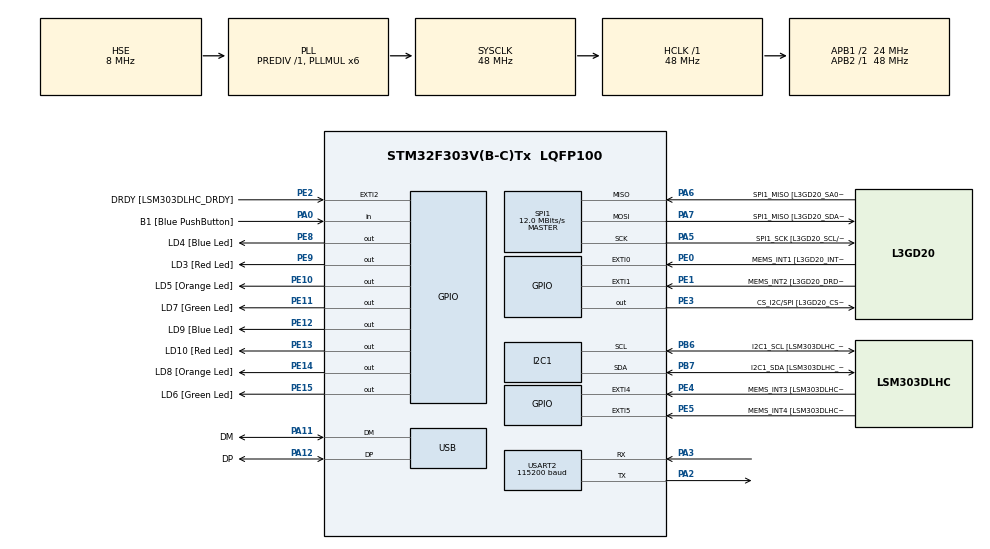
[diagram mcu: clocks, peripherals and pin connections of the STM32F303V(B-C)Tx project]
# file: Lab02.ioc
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I2C1.Timing=0x2000090E
I2C1.Timing-I2C=0x2000090E
Mcu.Family=STM32F3
Mcu.Name=STM32F303V(B-C)Tx
Mcu.Package=LQFP100
NVIC.PriorityGroup=NVIC_PRIORITYGROUP_0
PA0.GPIO_Label=B1 [Blue PushButton]
PA0.Signal=GPIO_Input
PA11.GPIO_Label=DM
PA11.Mode=Device
PA11.Signal=USB_DM
PA12.GPIO_Label=DP
PA12.Mode=Device
PA12.Signal=USB_DP
PA13.GPIO_Label=SWDIO
PA13.Mode=Serial_Wire
PA13.Signal=SYS_JTMS-SWDIO
PA14.GPIO_Label=SWCLK
PA14.Mode=Serial_Wire
PA14.Signal=SYS_JTCK-SWCLK
PA2.Mode=Asynchronous
PA2.Signal=USART2_TX
PA3.Mode=Asynchronous
PA3.Signal=USART2_RX
PA5.GPIO_Label=SPI1_SCK [L3GD20_SCL/SPC]
PA5.Mode=Full_Duplex_Master
PA5.Signal=SPI1_SCK
PA6.GPIO_Label=SPI1_MISO [L3GD20_SA0/SDO]
PA6.Mode=Full_Duplex_Master
PA6.Signal=SPI1_MISO
PA7.GPIO_Label=SPI1_MISO [L3GD20_SDA/SDI/SDO]
PA7.Mode=Full_Duplex_Master
PA7.Signal=SPI1_MOSI
PB3.GPIO_Label=SWO
PB3.Signal=SYS_JTDO-TRACESWO
PB6.GPIO_Label=I2C1_SCL [LSM303DLHC_SCL]
PB6.GPIO_Pu=GPIO_PULLUP
PB6.Mode=I2C
PB6.Signal=I2C1_SCL
PB7.GPIO_Label=I2C1_SDA [LSM303DLHC_SDA]
PB7.GPIO_Pu=GPIO_PULLUP
PB7.Mode=I2C
PB7.Signal=I2C1_SDA
PC14-OSC32_IN.GPIO_Label=OSC32_IN
PC14-OSC32_IN.Signal=RCC_OSC32_IN
PC15-OSC32_OUT.GPIO_Label=OSC32_OUT
PC15-OSC32_OUT.Signal=RCC_OSC32_OUT
PE0.GPIO_Label=MEMS_INT1 [L3GD20_INT1]
PE0.GPIO_ModeDefaultEXTI=GPIO_MODE_EVT_RISING
PE0.Signal=GPXTI0
PE1.GPIO_Label=MEMS_INT2 [L3GD20_DRDY/INT2]
PE1.GPIO_ModeDefaultEXTI=GPIO_MODE_EVT_RISING
PE1.Signal=GPXTI1
PE10.GPIO_Label=LD5 [Orange Led]
PE10.Signal=GPIO_Output
PE11.GPIO_Label=LD7 [Green Led]
PE11.Signal=GPIO_Output
PE12.GPIO_Label=LD9 [Blue Led]
PE12.Signal=GPIO_Output
PE13.GPIO_Label=LD10 [Red Led]
PE13.Signal=GPIO_Output
PE14.GPIO_Label=LD8 [Orange Led]
PE14.Signal=GPIO_Output
PE15.GPIO_Label=LD6 [Green Led]
PE15.Signal=GPIO_Output
PE2.GPIO_Label=DRDY [LSM303DLHC_DRDY]
PE2.GPIO_ModeDefaultEXTI=GPIO_MODE_EVT_RISING
PE2.Signal=GPXTI2
PE3.GPIO_Label=CS_I2C/SPI [L3GD20_CS_I2C/SPI]
PE3.Signal=GPIO_Output
PE4.GPIO_Label=MEMS_INT3 [LSM303DLHC_INT1]
PE4.GPIO_ModeDefaultEXTI=GPIO_MODE_EVT_RISING
PE4.Signal=GPXTI4
PE5.GPIO_Label=MEMS_INT4 [LSM303DLHC_INT2]
PE5.GPIO_ModeDefaultEXTI=GPIO_MODE_EVT_RISING
PE5.Signal=GPXTI5
PE8.GPIO_Label=LD4 [Blue Led]
PE8.Signal=GPIO_Output
PE9.GPIO_Label=LD3 [Red Led]
PE9.Signal=GPIO_Output
PF0-OSC_IN.GPIO_Label=OSC_IN
PF0-OSC_IN.Mode=HSE-External-Clock-Source
PF0-OSC_IN.Signal=RCC_OSC_IN
PF1-OSC_OUT.GPIO_Label=OSC_OUT
PF1-OSC_OUT.Signal=RCC_OSC_OUT
ProjectManager.HeapSize=0x200
ProjectManager.StackSize=0x400
ProjectManager.TargetToolchain=CMake
RCC.AHBFreq_Value=48000000
RCC.APB1CLKDivider=RCC_HCLK_DIV2
RCC.APB1Freq_Value=24000000
RCC.APB1TimFreq_Value=48000000
RCC.APB2Freq_Value=48000000
RCC.APB2TimFreq_Value=48000000
RCC.CortexFreq_Value=48000000
RCC.HCLKFreq_Value=48000000
RCC.HSE_VALUE=8000000
RCC.HSI_VALUE=8000000
RCC.LSE_VALUE=32768
RCC.PLLMUL=RCC_PLL_MUL6
RCC.SYSCLKFreq_VALUE=48000000
RCC.SYSCLKSourceVirtual=RCC_SYSCLKSOURCE_PLLCLK
RCC.USBFreq_Value=48000000
SPI1.BaudRatePrescaler=SPI_BAUDRATEPRESCALER_4
SPI1.BaudRatePrescaler-Full_Duplex_Master=SPI_BAUDRATEPRESCALER_2
SPI1.CalculateBaudRate=12.0 MBits/s
SPI1.CalculateBaudRate-Full_Duplex_Master=24.0 MBits/s
SPI1.Direction=SPI_DIRECTION_2LINES
SPI1.Mode=SPI_MODE_MASTER
SPI1.Mode-Full_Duplex_Master=SPI_MODE_MASTER
SPI1.VirtualType=VM_MASTER
USART2.BaudRate=115200
USART2.VirtualMode-Asynchronous=VM_ASYNC
board=STM32F3DISCOVERY

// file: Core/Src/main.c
/* USER CODE BEGIN Header */
/**
  ******************************************************************************
  * @file           : main.c
  * @brief          : Main program body
  ******************************************************************************
  * @attention
  *
  * Copyright (c) 2026 STMicroelectronics.
  * All rights reserved.
  *
  * This software is licensed under terms that can be found in the LICENSE file
  * in the root directory of this software component.
  * If no LICENSE file comes with this software, it is provided AS-IS.
  *
  ******************************************************************************
  */
/* USER CODE END Header */
#include "main.h"
#include "stdarg.h"
#include "stdio.h"
#include "string.h"
#include <stdlib.h>

I2C_HandleTypeDef hi2c1;

SPI_HandleTypeDef hspi1;

UART_HandleTypeDef huart2;

PCD_HandleTypeDef hpcd_USB_FS;

void SystemClock_Config(void);
static void MX_GPIO_Init(void);
static void MX_I2C1_Init(void);
static void MX_SPI1_Init(void);
static void MX_USART2_UART_Init(void);
static void MX_USB_PCD_Init(void);

/* USER CODE BEGIN 0 */
void myPrintf(const char *fmt, ...) {
    char buffer[128];
    va_list args;
    va_start(args, fmt);
    int l = vsnprintf(buffer, sizeof(buffer), fmt, args);
    va_end(args);
    if (l > 0) {
        HAL_UART_Transmit(&huart2, (uint8_t*)buffer, l, HAL_MAX_DELAY);
    }
}

void check (int a, int b){
  int LHS = (a+b)*(a+b);
  int RHS = a*a + 2*a*b + b*b;
  myPrintf("Value of LHS = %d, RHS = %d\r\n", LHS, RHS);
  myPrintf("Check result: %s\r\n", (LHS == RHS) ? "True" : "False");
}

void encrypt (char str[], int key) {
    int len = 17;
    int shift = key % 256;

    for (int i = 0; i < len; i++) {
        str[i] = (str[i] + shift) % 128; //128 to ensure key is in range of ascii
    }
    myPrintf("Encrypted string: %s\r\n", str);
}

void decrypt (char str[], int key) {
    int len = 17;
    int shift = key % 256;

    for (int i = 0; i < len; i++) {
        str[i] = (str[i] - (shift % 128) + 128) % 128; //128 to ensure key is in range of ascii
    }
    myPrintf("Decrypted string: %s\r\n", str);
}

void multiply(int a[2][2], int b[2][2], int res[2][2]) {
    for (int i = 0; i < 2; i++) {
        for (int j = 0; j < 2; j++) {
            res[i][j] = 0;
            for (int k = 0; k < 2; k++) {
                res[i][j] += a[i][k] * b[k][j];
            }
        }
    }
}

#include <stdio.h>

/* USER CODE END 0 */

int main(void)
{

  /* MCU Configuration--------------------------------------------------------*/

  /* Reset of all peripherals, Initializes the Flash interface and the Systick. */
  HAL_Init();

  /* Configure the system clock */
  SystemClock_Config();

  /* Initialize all configured peripherals */
  MX_GPIO_Init();
  MX_I2C1_Init();
  MX_SPI1_Init();
  MX_USART2_UART_Init();
  MX_USB_PCD_Init();

  /* Infinite loop */
  /* USER CODE BEGIN WHILE */
  while (1)
  {
    int number, originalNumber, result;

    myPrintf("Armstrong numbers between 100 and 999:\r\n");

    for (number = 100; number <= 999; number++) {
        originalNumber = number;
        result = 0;
        int temp = originalNumber;
        int d1 = temp / 100;
        int d2 = (temp / 10) % 10;
        int d3 = temp % 10;
        result = (d1 * d1 * d1) + (d2 * d2 * d2) + (d3 * d3 * d3);
        if (result == originalNumber) {
            myPrintf("%d\r\n", originalNumber);
        }
    }
  }
}

void SystemClock_Config(void)
{
  RCC_OscInitTypeDef RCC_OscInitStruct = {0};
  RCC_ClkInitTypeDef RCC_ClkInitStruct = {0};
  RCC_PeriphCLKInitTypeDef PeriphClkInit = {0};

  /** Initializes the RCC Oscillators according to the specified parameters
  * in the RCC_OscInitTypeDef structure.
  */
  RCC_OscInitStruct.OscillatorType = RCC_OSCILLATORTYPE_HSI|RCC_OSCILLATORTYPE_HSE;
  RCC_OscInitStruct.HSEState = RCC_HSE_BYPASS;
  RCC_OscInitStruct.HSEPredivValue = RCC_HSE_PREDIV_DIV1;
  RCC_OscInitStruct.HSIState = RCC_HSI_ON;
  RCC_OscInitStruct.HSICalibrationValue = RCC_HSICALIBRATION_DEFAULT;
  RCC_OscInitStruct.PLL.PLLState = RCC_PLL_ON;
  RCC_OscInitStruct.PLL.PLLSource = RCC_PLLSOURCE_HSE;
  RCC_OscInitStruct.PLL.PLLMUL = RCC_PLL_MUL6;
  if (HAL_RCC_OscConfig(&RCC_OscInitStruct) != HAL_OK)
  {
    Error_Handler();
  }

  /** Initializes the CPU, AHB and APB buses clocks
  */
  RCC_ClkInitStruct.ClockType = RCC_CLOCKTYPE_HCLK|RCC_CLOCKTYPE_SYSCLK
                              |RCC_CLOCKTYPE_PCLK1|RCC_CLOCKTYPE_PCLK2;
  RCC_ClkInitStruct.SYSCLKSource = RCC_SYSCLKSOURCE_PLLCLK;
  RCC_ClkInitStruct.AHBCLKDivider = RCC_SYSCLK_DIV1;
  RCC_ClkInitStruct.APB1CLKDivider = RCC_HCLK_DIV2;
  RCC_ClkInitStruct.APB2CLKDivider = RCC_HCLK_DIV1;

  if (HAL_RCC_ClockConfig(&RCC_ClkInitStruct, FLASH_LATENCY_1) != HAL_OK)
  {
    Error_Handler();
  }
  PeriphClkInit.PeriphClockSelection = RCC_PERIPHCLK_USB|RCC_PERIPHCLK_USART2
                              |RCC_PERIPHCLK_I2C1;
  PeriphClkInit.Usart2ClockSelection = RCC_USART2CLKSOURCE_PCLK1;
  PeriphClkInit.I2c1ClockSelection = RCC_I2C1CLKSOURCE_HSI;
  PeriphClkInit.USBClockSelection = RCC_USBCLKSOURCE_PLL;
  if (HAL_RCCEx_PeriphCLKConfig(&PeriphClkInit) != HAL_OK)
  {
    Error_Handler();
  }
}

static void MX_I2C1_Init(void)
{

  hi2c1.Instance = I2C1;
  hi2c1.Init.Timing = 0x2000090E;
  hi2c1.Init.OwnAddress1 = 0;
  hi2c1.Init.AddressingMode = I2C_ADDRESSINGMODE_7BIT;
  hi2c1.Init.DualAddressMode = I2C_DUALADDRESS_DISABLE;
  hi2c1.Init.OwnAddress2 = 0;
  hi2c1.Init.OwnAddress2Masks = I2C_OA2_NOMASK;
  hi2c1.Init.GeneralCallMode = I2C_GENERALCALL_DISABLE;
  hi2c1.Init.NoStretchMode = I2C_NOSTRETCH_DISABLE;
  if (HAL_I2C_Init(&hi2c1) != HAL_OK)
  {
    Error_Handler();
  }

  /** Configure Analogue filter
  */
  if (HAL_I2CEx_ConfigAnalogFilter(&hi2c1, I2C_ANALOGFILTER_ENABLE) != HAL_OK)
  {
    Error_Handler();
  }

  /** Configure Digital filter
  */
  if (HAL_I2CEx_ConfigDigitalFilter(&hi2c1, 0) != HAL_OK)
  {
    Error_Handler();
  }

}

static void MX_SPI1_Init(void)
{

  /* SPI1 parameter configuration*/
  hspi1.Instance = SPI1;
  hspi1.Init.Mode = SPI_MODE_MASTER;
  hspi1.Init.Direction = SPI_DIRECTION_2LINES;
  hspi1.Init.DataSize = SPI_DATASIZE_4BIT;
  hspi1.Init.CLKPolarity = SPI_POLARITY_LOW;
  hspi1.Init.CLKPhase = SPI_PHASE_1EDGE;
  hspi1.Init.NSS = SPI_NSS_SOFT;
  hspi1.Init.BaudRatePrescaler = SPI_BAUDRATEPRESCALER_4;
  hspi1.Init.FirstBit = SPI_FIRSTBIT_MSB;
  hspi1.Init.TIMode = SPI_TIMODE_DISABLE;
  hspi1.Init.CRCCalculation = SPI_CRCCALCULATION_DISABLE;
  hspi1.Init.CRCPolynomial = 7;
  hspi1.Init.CRCLength = SPI_CRC_LENGTH_DATASIZE;
  hspi1.Init.NSSPMode = SPI_NSS_PULSE_ENABLE;
  if (HAL_SPI_Init(&hspi1) != HAL_OK)
  {
    Error_Handler();
  }

}

static void MX_USART2_UART_Init(void)
{

  huart2.Instance = USART2;
  huart2.Init.BaudRate = 115200;
  huart2.Init.WordLength = UART_WORDLENGTH_8B;
  huart2.Init.StopBits = UART_STOPBITS_1;
  huart2.Init.Parity = UART_PARITY_NONE;
  huart2.Init.Mode = UART_MODE_TX_RX;
  huart2.Init.HwFlowCtl = UART_HWCONTROL_NONE;
  huart2.Init.OverSampling = UART_OVERSAMPLING_16;
  huart2.Init.OneBitSampling = UART_ONE_BIT_SAMPLE_DISABLE;
  huart2.AdvancedInit.AdvFeatureInit = UART_ADVFEATURE_NO_INIT;
  if (HAL_UART_Init(&huart2) != HAL_OK)
  {
    Error_Handler();
  }

}

static void MX_USB_PCD_Init(void)
{

  hpcd_USB_FS.Instance = USB;
  hpcd_USB_FS.Init.dev_endpoints = 8;
  hpcd_USB_FS.Init.speed = PCD_SPEED_FULL;
  hpcd_USB_FS.Init.phy_itface = PCD_PHY_EMBEDDED;
  hpcd_USB_FS.Init.low_power_enable = DISABLE;
  hpcd_USB_FS.Init.battery_charging_enable = DISABLE;
  if (HAL_PCD_Init(&hpcd_USB_FS) != HAL_OK)
  {
    Error_Handler();
  }

}

static void MX_GPIO_Init(void)
{
  GPIO_InitTypeDef GPIO_InitStruct = {0};

  /* GPIO Ports Clock Enable */
  __HAL_RCC_GPIOE_CLK_ENABLE();
  __HAL_RCC_GPIOC_CLK_ENABLE();
  __HAL_RCC_GPIOF_CLK_ENABLE();
  __HAL_RCC_GPIOA_CLK_ENABLE();
  __HAL_RCC_GPIOB_CLK_ENABLE();

  /*Configure GPIO pin Output Level */
  HAL_GPIO_WritePin(GPIOE, CS_I2C_SPI_Pin|LD4_Pin|LD3_Pin|LD5_Pin
                          |LD7_Pin|LD9_Pin|LD10_Pin|LD8_Pin
                          |LD6_Pin, GPIO_PIN_RESET);

  /*Configure GPIO pins : DRDY_Pin MEMS_INT3_Pin MEMS_INT4_Pin MEMS_INT1_Pin
                           MEMS_INT2_Pin */
  GPIO_InitStruct.Pin = DRDY_Pin|MEMS_INT3_Pin|MEMS_INT4_Pin|MEMS_INT1_Pin
                          |MEMS_INT2_Pin;
  GPIO_InitStruct.Mode = GPIO_MODE_EVT_RISING;
  GPIO_InitStruct.Pull = GPIO_NOPULL;
  HAL_GPIO_Init(GPIOE, &GPIO_InitStruct);

  /*Configure GPIO pins : CS_I2C_SPI_Pin LD4_Pin LD3_Pin LD5_Pin
                           LD7_Pin LD9_Pin LD10_Pin LD8_Pin
                           LD6_Pin */
  GPIO_InitStruct.Pin = CS_I2C_SPI_Pin|LD4_Pin|LD3_Pin|LD5_Pin
                          |LD7_Pin|LD9_Pin|LD10_Pin|LD8_Pin
                          |LD6_Pin;
  GPIO_InitStruct.Mode = GPIO_MODE_OUTPUT_PP;
  GPIO_InitStruct.Pull = GPIO_NOPULL;
  GPIO_InitStruct.Speed = GPIO_SPEED_FREQ_LOW;
  HAL_GPIO_Init(GPIOE, &GPIO_InitStruct);

  /*Configure GPIO pin : B1_Pin */
  GPIO_InitStruct.Pin = B1_Pin;
  GPIO_InitStruct.Mode = GPIO_MODE_INPUT;
  GPIO_InitStruct.Pull = GPIO_NOPULL;
  HAL_GPIO_Init(B1_GPIO_Port, &GPIO_InitStruct);

}

void Error_Handler(void)
{
  __disable_irq();
  while (1)
  {
  }
}
